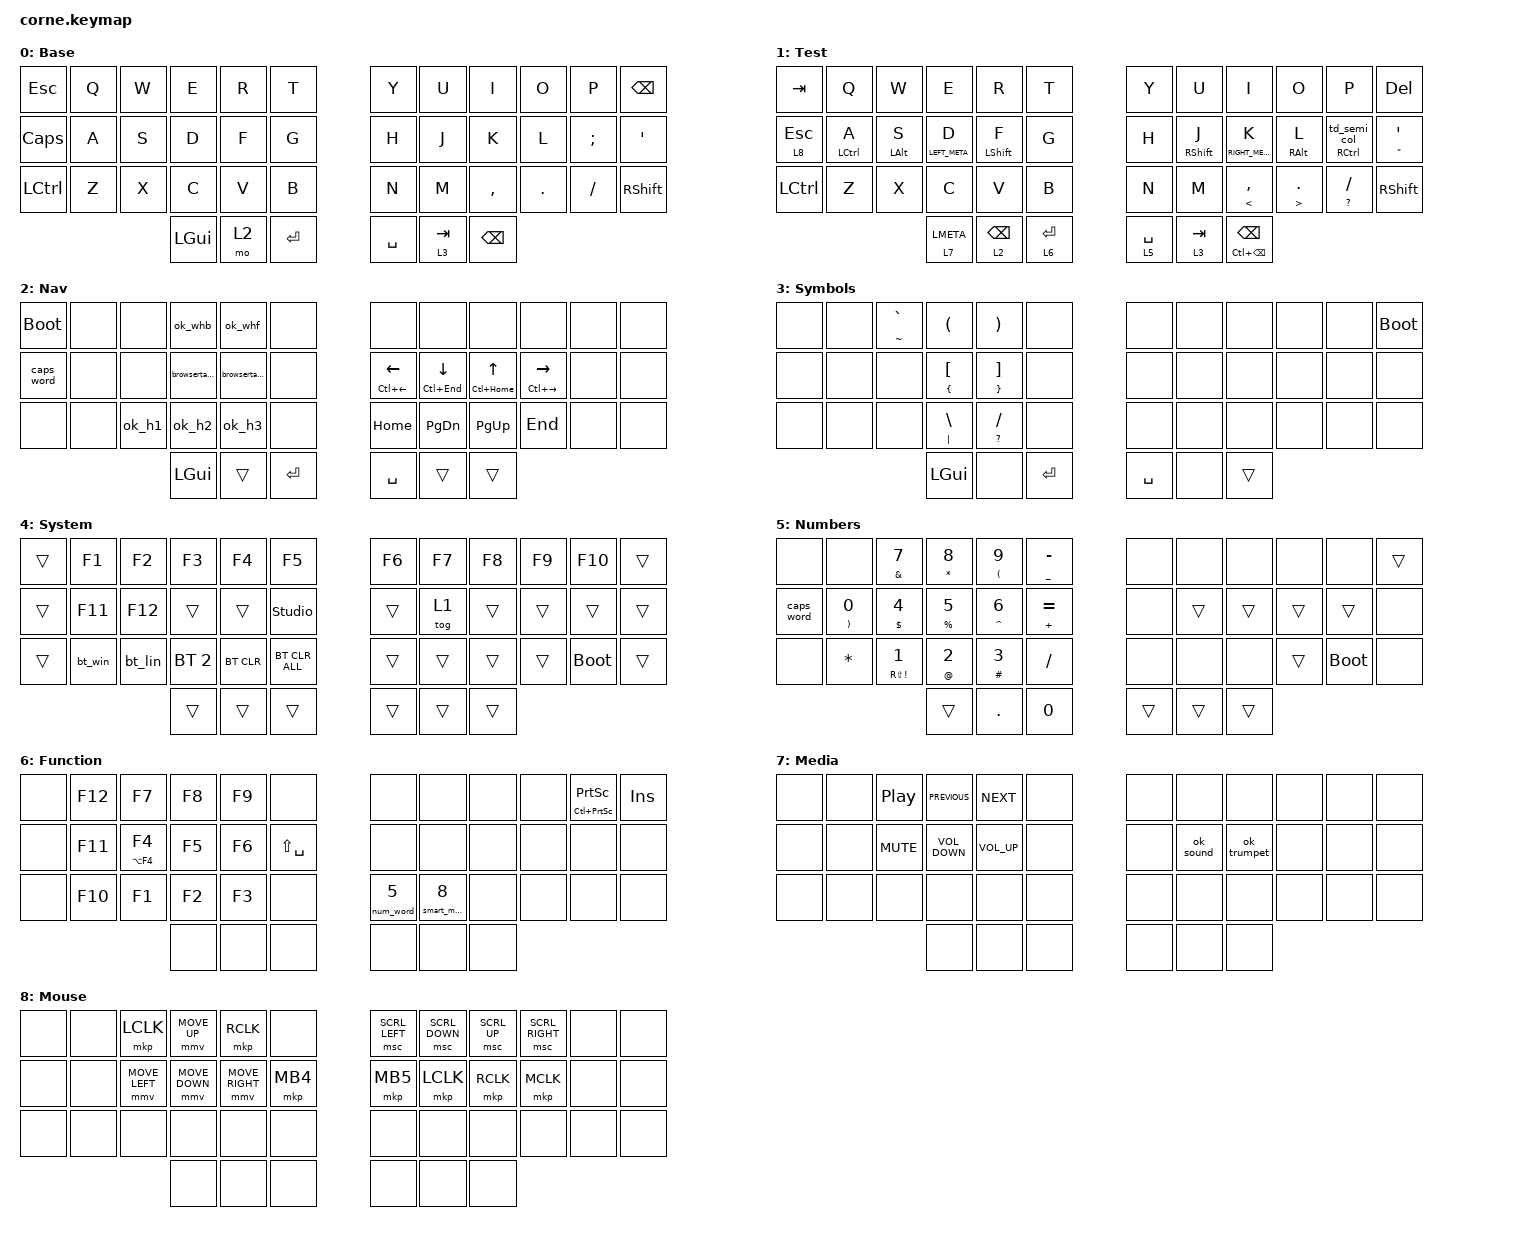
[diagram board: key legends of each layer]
#define ZMK_POINTING_DEFAULT_MOVE_VAL 2300 // default: 600
#define ZMK_POINTING_DEFAULT_SCRL_VAL 40    // default: 10

#include <behaviors/num_word.dtsi> // Requires zmk-auto-layer module.
#include <behaviors.dtsi>
#include <dt-bindings/zmk/bt.h>
#include <dt-bindings/zmk/keys.h>
#include <dt-bindings/zmk/pointing.h>
#include <dt-bindings/zmk/oskey.h>
#include <behaviors/oskey.dtsi>

// Extend the ZMK existing mouse move behaviour
&mmv {
    acceleration-exponent = <1>; // 1
    time-to-max-speed-ms = <500>; // 300
    trigger-period-ms = <8>;
};

// Extend the ZMK existing mouse scroll behaviour
&msc {
    acceleration-exponent = <1>;      // 0
    time-to-max-speed-ms = <40>;      // 300
    trigger-period-ms = <8>;
};

#define DEF 0
#define NAV 1
#define SYM 2
#define ADJ 3
#define EXTRA 4

&bootloader {
};

/ {
    behaviors {
        hm: homerow_mods {
            compatible = "zmk,behavior-hold-tap";
            label = "HOMEROW_MODS";
            #binding-cells = <2>;
            tapping-term-ms = <280>;
            quick_tap_ms = <0>;
            flavor = "tap-preferred";
            bindings = <&kp>, <&kp>;

            quick-tap-ms = <175>;
            global-quick-tap;
        };

        para: para {
            compatible = "zmk,behavior-tap-dance";
            label = "PARA";
            #binding-cells = <0>;
            bindings = <&kp LEFT_PARENTHESIS>, <&kp RIGHT_PARENTHESIS>;
        };

        caps: caps {
            compatible = "zmk,behavior-caps-word";
            label = "CAPS";
            #binding-cells = <0>;
            continue-list = <MINUS BACKSPACE>;
        };

        paraless: paraless {
            compatible = "zmk,behavior-mod-morph";
            label = "PARALESS";
            bindings = <&kp LEFT_PARENTHESIS>, <&kp LESS_THAN>;

            #binding-cells = <0>;
            mods = <(MOD_LSFT)>;
        };

        paragreat: paragreat {
            compatible = "zmk,behavior-mod-morph";
            label = "PARAGREAT";
            bindings = <&kp RIGHT_PARENTHESIS>, <&kp GREATER_THAN>;

            #binding-cells = <0>;
            mods = <(MOD_LSFT)>;
        };

        mt2: mod_tap_custom_2 {
            compatible = "zmk,behavior-hold-tap";
            label = "MT2";
            #binding-cells = <2>;
            tapping-term-ms = <280>;
            quick_tap_ms = <0>;
            flavor = "balanced";
            bindings = <&kp>, <&kp>;

            quick-tap-ms = <175>;
            global-quick-tap;
            hold-trigger-on-release;
        };

        smart_mouse: smart_mouse {
            compatible = "zmk,behavior-auto-layer";
            #binding-cells = <1>;
            continue-list = <LEFT DOWN UP RIGHT PG_DN PG_UP>;
            ignore-modifiers;
        };

        td_semi_col: td_semi_col {
            compatible = "zmk,behavior-tap-dance";
            #binding-cells = <0>;
            tapping-term-ms = <175>;
            bindings = <&kp SEMI>, <&kp COLON>;
        };

        mt_td_ctl: mt_td_ctrl {
            compatible = "zmk,behavior-hold-tap";
            #binding-cells = <2>;
            flavor = "tap-preferred";
            tapping-term-ms = <280>;
            quick-tap-ms = <175>;
            bindings = <&kp>, <&td_semi_col>;
            retro-tap;
        };

        ok_sound: ok_sound {
            compatible = "zmk,behavior-os-key";
            #binding-cells = <0>;
            bindings = <&kp LC(LA(F11))>, <&none>, <&kp LC(LG(NUMBER_1))>;
        };

        ok_trumpet: ok_trumpet {
            compatible = "zmk,behavior-os-key";
            #binding-cells = <0>;
            bindings = <&kp LC(F12)>, <&none>, <&none>;
        };

        ok_h1: ok_h1 {
            compatible = "zmk,behavior-os-key";
            #binding-cells = <0>;
            bindings = <&kp LA(NUMBER_1)>, <&none>, <&kp LA(NUMBER_1)>;
        };

        ok_h2: ok_h2 {
            compatible = "zmk,behavior-os-key";
            #binding-cells = <0>;
            bindings = <&kp LA(NUMBER_2)>, <&none>, <&kp LA(NUMBER_2)>;
        };

        ok_h3: ok_h3 {
            compatible = "zmk,behavior-os-key";
            #binding-cells = <0>;
            bindings = <&kp LA(NUMBER_3)>, <&none>, <&kp LA(NUMBER_3)>;
        };

        ok_whf: ok_whf {
            compatible = "zmk,behavior-os-key";
            #binding-cells = <0>;
            bindings = <&whf>, <&none>, <&none>;
        };

        ok_whb: ok_whb {
            compatible = "zmk,behavior-os-key";
            #binding-cells = <0>;
            bindings = <&whb>, <&none>, <&none>;
        };
    };

    macros {
        browsertabF: browsertab {
            compatible = "zmk,behavior-macro";
            #binding-cells = <0>;
            bindings =
                <&macro_press>,
                <&kp LCTRL>,
                <&macro_tap>,
                <&kp TAB>,
                <&macro_release>,
                <&kp LCTRL>;
        };

        browsertabB: browsertabB {
            compatible = "zmk,behavior-macro";
            #binding-cells = <0>;
            bindings =
                <&macro_press>,
                <&kp LCTRL>,
                <&macro_press>,
                <&kp LEFT_SHIFT>,
                <&macro_tap>,
                <&kp TAB>,
                <&macro_release>,
                <&kp LCTRL>,
                <&macro_release>,
                <&kp LEFT_SHIFT>;

            label = "BROWSERTABB";
        };

        whf: whf {
            compatible = "zmk,behavior-macro";
            #binding-cells = <0>;
            bindings =
                <&macro_press>,
                <&kp LALT>,
                <&macro_tap>,
                <&kp GRAVE>,
                <&macro_release>,
                <&kp LALT>;
            label = "WINDOWHOPF";
        };

        whb: whb {
            compatible = "zmk,behavior-macro";
            #binding-cells = <0>;
            bindings =
                <&macro_press>,
                <&kp LALT>,
                <&macro_press>,
                <&kp LSHIFT>,
                <&macro_tap>,
                <&kp GRAVE>,
                <&macro_release>,
                <&kp LALT>,
                <&macro_release>,
                <&kp LSHIFT>;
            label = "WINDOWHOPB";
        };

        bt_win: bt_win {
            compatible = "zmk,behavior-macro";
            #binding-cells = <0>;
            bindings = <&bt BT_SEL 0>, <&os_sel OS_WIN>;
        };

        bt_lin: bt_lin {
            compatible = "zmk,behavior-macro";
            #binding-cells = <0>;
            bindings = <&bt BT_SEL 1>, <&os_sel OS_LIN>;
        };
    };

    combos {
        compatible = "zmk,combos";

        escape {
            bindings = <&kp ESCAPE>;
            key-positions = <16 15>;
        };

        perc {
            bindings = <&kp PERCENT>;
            key-positions = <5 17>;
        };

        equal {
            bindings = <&kp EQUAL>;
            key-positions = <28 16>;
        };

        dollar {
            bindings = <&kp DOLLAR>;
            key-positions = <4 16>;
        };

        pound {
            bindings = <&kp POUND>;
            key-positions = <3 15>;
        };

        at {
            bindings = <&kp AT>;
            key-positions = <2 14>;
        };

        backslash {
            bindings = <&kp BACKSLASH>;
            key-positions = <26 14>;
        };

        copy {
            bindings = <&kp LC(C)>;
            key-positions = <27 26>;
        };

        paste {
            bindings = <&kp LC(V)>;
            key-positions = <27 28>;
        };

        star {
            bindings = <&kp STAR>;
            key-positions = <8 20>;
        };

        slash {
            bindings = <&kp SLASH>;
            key-positions = <32 20>;
        };

        plus {
            bindings = <&kp PLUS>;
            key-positions = <7 19>;
        };

        minus {
            bindings = <&kp KP_MINUS>;
            key-positions = <31 19>;
        };

        underscore {
            bindings = <&kp UNDER>;
            key-positions = <30 18>;
        };

        leftbrack {
            bindings = <&kp LEFT_BRACKET>;
            key-positions = <7 8>;
        };

        rightbrack {
            bindings = <&kp RIGHT_BRACKET>;
            key-positions = <8 9>;
        };

        para-less {
            bindings = <&paraless>;
            key-positions = <31 32>;
        };

        para-great {
            bindings = <&paragreat>;
            key-positions = <33 32>;
        };

        combo_enter {
            bindings = <&kp ENTER>;
            key-positions = <19 21>;
        };
    };

    //

    keymap {
        compatible = "zmk,keymap";

        DEF {
            display-name = "Base";

            // -----------------------------------------------------------------------------------------
            // |  Q  |  W  |  E  |  R  |  T  |   |  Y  |  U   |  I  |  O  |  P  |
            // |  A  |  S  |  D  |  F  |  G  |   |  H  |  J   |  K  |  L  |  ;  |
            // |  Z  |  X  |  C  |  V  |  B  |   |  N  |  M   |  ,  |  .  |  /  |
            // | GUI | CTRL | SHFT | LWR | SPC |   | ENT | RSE  | BKSP | ALT | ESC |

            bindings = <
//    ┌──────┬───┬───┬──────┬──────┬─────┐   ┌─────┬──────────┬──────┬───┬───┬──────┐
//    │ esc  │ Q │ W │  E   │  R   │  T  │   │  Y  │    U     │  I   │ O │ P │ bspc │
//    ├──────┼───┼───┼──────┼──────┼─────┤   ├─────┼──────────┼──────┼───┼───┼──────┤
//    │ caps │ A │ S │  D   │  F   │  G  │   │  H  │    J     │  K   │ L │ ; │  '   │
//    ├──────┼───┼───┼──────┼──────┼─────┤   ├─────┼──────────┼──────┼───┼───┼──────┤
//    │ lctl │ Z │ X │  C   │  V   │  B  │   │  N  │    M     │  ,   │ . │ / │ rsft │
//    └──────┴───┴───┼──────┼──────┼─────┤   ├─────┼──────────┼──────┼───┴───┴──────┘
//                   │ lgui │ mo 2 │ ent │   │ spc │ lt 3 tab │ bspc │
//                   └──────┴──────┴─────┘   └─────┴──────────┴──────┘
  &kp ESCAPE     &kp Q   &kp W   &kp E      &kp R   &kp T           &kp Y       &kp U       &kp I           &kp O     &kp P      &kp BACKSPACE
  &kp CAPSLOCK   &kp A   &kp S   &kp D      &kp F   &kp G           &kp H       &kp J       &kp K           &kp L     &kp SEMI   &kp SQT
  &kp LCTRL      &kp Z   &kp X   &kp C      &kp V   &kp B           &kp N       &kp M       &kp COMMA       &kp DOT   &kp FSLH   &kp RSHFT
                                 &kp LGUI   &mo 2   &kp ENTER       &kp SPACE   &lt 3 TAB   &kp BACKSPACE
            >;
        };

        Testing {
            display-name = "Test";
            bindings = <
//    ┌──────────┬────────────┬────────────┬────────────┬────────────┬──────────┐   ┌──────────┬────────────┬─────────────────────┬────────────┬──────────────────┬─────────┐
//    │   tab    │     Q      │     W      │     E      │     R      │    T     │   │    Y     │     U      │          I          │     O      │        P         │   del   │
//    ├──────────┼────────────┼────────────┼────────────┼────────────┼──────────┤   ├──────────┼────────────┼─────────────────────┼────────────┼──────────────────┼─────────┤
//    │ lt 8 esc │ mt2 lctl A │ mt2 lalt S │ mt2 lgui D │ mt2 lsft F │    G     │   │    H     │ mt2 rsft J │     mt2 rgui K      │ mt2 ralt L │ mt_td_ctl rctl 0 │ mt2 " ' │
//    ├──────────┼────────────┼────────────┼────────────┼────────────┼──────────┤   ├──────────┼────────────┼─────────────────────┼────────────┼──────────────────┼─────────┤
//    │   lctl   │     Z      │     X      │     C      │     V      │    B     │   │    N     │     M      │       mt2 < ,       │  mt2 > .   │     mt2 ? /      │  rsft   │
//    └──────────┴────────────┴────────────┼────────────┼────────────┼──────────┤   ├──────────┼────────────┼─────────────────────┼────────────┴──────────────────┴─────────┘
//                                         │ lt 7 lgui  │ lt 2 bspc  │ lt 6 ent │   │ lt 5 spc │  lt 3 tab  │ mt2 lctl(bspc) bspc │
//                                         └────────────┴────────────┴──────────┘   └──────────┴────────────┴─────────────────────┘
  &kp TAB        &kp Q          &kp W             &kp E              &kp R               &kp T             &kp Y         &kp U                &kp I                     &kp O                      &kp P                 &kp DELETE
  &lt 8 ESCAPE   &mt2 LCTRL A   &mt2 LEFT_ALT S   &mt2 LEFT_META D   &mt2 LEFT_SHIFT F   &kp G             &kp H         &mt2 RIGHT_SHIFT J   &mt2 RIGHT_META K         &mt2 RIGHT_ALT L           &mt_td_ctl RCTRL 0    &mt2 DOUBLE_QUOTES SQT
  &kp LCTRL      &kp Z          &kp X             &kp C              &kp V               &kp B             &kp N         &kp M                &mt2 LESS_THAN COMMA      &mt2 GREATER_THAN PERIOD   &mt2 QUESTION SLASH   &kp RSHFT
                                                  &lt 7 LMETA        &lt 2 BSPC          &lt 6 ENTER       &lt 5 SPACE   &lt 3 TAB            &mt2 LC(BACKSPACE) BSPC
            >;
        };

        NAV {
            display-name = "Nav";

            // -----------------------------------------------------------------------------------------
            // |  TAB |  1  |  2  |  3  |  4  |  5  |   |  6  |  7  |  8  |  9  |  0  | BKSP |
            // | BTCLR| BT1 | BT2 | BT3 | BT4 | BT5 |   | LFT | DWN |  UP | RGT |     |      |
            // | SHFT |     |     |     |     |     |   |     |     |     |     |     |      |
            // | GUI | CTRL | SHFT | LWR | SPC |   | ENT | RSE  | BKSP | ALT | ESC |

            bindings = <
//    ┌───────┬─────┬────────┬──────────────┬──────────────┬─────┐   ┌─────────────────────┬────────────────────┬───────────────────┬─────────────────────┬─────┬─────┐
//    │ boot  │     │        │   &ok_whb    │   &ok_whf    │     │   │                     │                    │                   │                     │     │     │
//    ├───────┼─────┼────────┼──────────────┼──────────────┼─────┤   ├─────────────────────┼────────────────────┼───────────────────┼─────────────────────┼─────┼─────┤
//    │ capsw │     │        │ &browsertabB │ &browsertabF │     │   │ mt2 lctl(left) left │ mt2 lctl(end) down │ mt2 lctl(home) up │ mt2 lctl(rght) rght │     │     │
//    ├───────┼─────┼────────┼──────────────┼──────────────┼─────┤   ├─────────────────────┼────────────────────┼───────────────────┼─────────────────────┼─────┼─────┤
//    │       │     │ &ok_h1 │    &ok_h2    │    &ok_h3    │     │   │        home         │        pgdn        │       pgup        │         end         │     │     │
//    └───────┴─────┴────────┼──────────────┼──────────────┼─────┤   ├─────────────────────┼────────────────────┼───────────────────┼─────────────────────┴─────┴─────┘
//                           │     lgui     │              │ ent │   │         spc         │                    │                   │
//                           └──────────────┴──────────────┴─────┘   └─────────────────────┴────────────────────┴───────────────────┘
  &bootloader   &none   &none    &ok_whb        &ok_whf        &none           &none                      &none                     &none                    &none                              &none   &none
  &caps_word    &none   &none    &browsertabB   &browsertabF   &none           &mt2 LC(LEFT_ARROW) LEFT   &mt2 LC(END) DOWN_ARROW   &mt2 LC(HOME) UP_ARROW   &mt2 LC(RIGHT_ARROW) RIGHT_ARROW   &none   &none
  &none         &none   &ok_h1   &ok_h2         &ok_h3         &none           &kp HOME                   &kp PAGE_DOWN             &kp PAGE_UP              &kp END                            &none   &none
                                 &kp LGUI       &trans         &kp ENTER       &kp SPACE                  &trans                    &trans
            >;
        };

        SYM {
            display-name = "Symbols";

            // -----------------------------------------------------------------------------------------
            // |  TAB |  !  |  @  |  #  |  $  |  %  |   |  ^  |  &  |  *  |  (  |  )  | BKSP |
            // | CTRL |     |     |     |     |     |   |  -  |  =  |  [  |  ]  |  \  |  `   |
            // | SHFT |     |     |     |     |     |   |  _  |  +  |  {  |  }  | "|" |  ~   |
            //                    | GUI |     | SPC |   | ENT |     | ALT |

            bindings = <
//    ┌─────┬─────┬─────────┬─────────┬─────────┬─────┐   ┌─────┬─────┬─────┬─────┬─────┬──────┐
//    │     │     │ mt2 ~ ` │    (    │    )    │     │   │     │     │     │     │     │ boot │
//    ├─────┼─────┼─────────┼─────────┼─────────┼─────┤   ├─────┼─────┼─────┼─────┼─────┼──────┤
//    │     │     │         │ mt2 { [ │ mt2 } ] │     │   │     │     │     │     │     │      │
//    ├─────┼─────┼─────────┼─────────┼─────────┼─────┤   ├─────┼─────┼─────┼─────┼─────┼──────┤
//    │     │     │         │ mt2 | \ │ mt2 ? / │     │   │     │     │     │     │     │      │
//    └─────┴─────┴─────────┼─────────┼─────────┼─────┤   ├─────┼─────┼─────┼─────┴─────┴──────┘
//                          │  lgui   │         │ ent │   │ spc │     │     │
//                          └─────────┴─────────┴─────┘   └─────┴─────┴─────┘
  &none   &none   &mt2 TILDE GRAVE   &kp LEFT_PARENTHESIS           &kp RIGHT_PARENTHESIS            &none         &none       &none   &none    &none   &none   &bootloader
  &none   &none   &none              &mt2 LEFT_BRACE LEFT_BRACKET   &mt2 RIGHT_BRACE RIGHT_BRACKET   &none         &none       &none   &none    &none   &none   &none
  &none   &none   &none              &mt2 PIPE BACKSLASH            &mt2 QUESTION SLASH              &none         &none       &none   &none    &none   &none   &none
                                     &kp LGUI                       &none                            &kp RET       &kp SPACE   &none   &trans
            >;
        };

        ADJ {
            display-name = "System";
            bindings = <
//    ┌─────┬─────────┬─────────┬──────────┬────────┬────────────────┐   ┌─────┬───────┬─────┬─────┬──────┬─────┐
//    │     │   f1    │   f2    │    f3    │   f4   │       f5       │   │ f6  │  f7   │ f8  │ f9  │ f10  │     │
//    ├─────┼─────────┼─────────┼──────────┼────────┼────────────────┤   ├─────┼───────┼─────┼─────┼──────┼─────┤
//    │     │   f11   │   f12   │          │        │ &studio_unlock │   │     │ tog 1 │     │     │      │     │
//    ├─────┼─────────┼─────────┼──────────┼────────┼────────────────┤   ├─────┼───────┼─────┼─────┼──────┼─────┤
//    │     │ &bt_win │ &bt_lin │ bt_sel 2 │ bt_clr │   bt_clr_ALL   │   │     │       │     │     │ boot │     │
//    └─────┴─────────┴─────────┼──────────┼────────┼────────────────┤   ├─────┼───────┼─────┼─────┴──────┴─────┘
//                              │          │        │                │   │     │       │     │
//                              └──────────┴────────┴────────────────┘   └─────┴───────┴─────┘
  &trans   &kp F1    &kp F2    &kp F3         &kp F4       &kp F5               &kp F6   &kp F7   &kp F8   &kp F9   &kp F10       &trans
  &trans   &kp F11   &kp F12   &trans         &trans       &studio_unlock       &trans   &tog 1   &trans   &trans   &trans        &trans
  &trans   &bt_win   &bt_lin   &bt BT_SEL 2   &bt BT_CLR   &bt BT_CLR_ALL       &trans   &trans   &trans   &trans   &bootloader   &trans
                               &trans         &trans       &trans               &trans   &trans   &trans
            >;
        };

        NUM {
            display-name = "Numbers";
            bindings = <
//    ┌───────┬─────────┬───────────────┬─────────┬─────────┬─────────┐   ┌─────┬─────┬─────┬─────┬──────┬─────┐
//    │       │         │    mt2 & 7    │ mt2 * 8 │ mt2 ( 9 │ mt2 _ - │   │     │     │     │     │      │     │
//    ├───────┼─────────┼───────────────┼─────────┼─────────┼─────────┤   ├─────┼─────┼─────┼─────┼──────┼─────┤
//    │ capsw │ mt2 ) 0 │    mt2 $ 4    │ mt2 % 5 │ mt2 ^ 6 │ mt2 + = │   │     │     │     │     │      │     │
//    ├───────┼─────────┼───────────────┼─────────┼─────────┼─────────┤   ├─────┼─────┼─────┼─────┼──────┼─────┤
//    │       │    *    │ mt2 rsft(!) 1 │ mt2 @ 2 │ mt2 # 3 │    /    │   │     │     │     │     │ boot │     │
//    └───────┴─────────┴───────────────┼─────────┼─────────┼─────────┤   ├─────┼─────┼─────┼─────┴──────┴─────┘
//                                      │         │    .    │    0    │   │     │     │     │
//                                      └─────────┴─────────┴─────────┘   └─────┴─────┴─────┘
  &none        &none                       &mt2 AMPERSAND N7               &mt2 ASTERISK N8        &mt2 LEFT_PARENTHESIS N9   &mt2 UNDERSCORE MINUS       &none    &none    &none    &none    &none         &trans
  &caps_word   &mt2 RIGHT_PARENTHESIS N0   &mt2 DOLLAR NUMBER_4            &mt2 PERCENT N5         &mt2 CARET NUMBER_6        &mt2 PLUS EQUAL             &none    &trans   &trans   &trans   &trans        &none
  &none        &kp STAR                    &mt2 RS(EXCLAMATION) NUMBER_1   &mt2 AT_SIGN NUMBER_2   &mt2 HASH NUMBER_3         &kp FSLH                    &none    &none    &none    &trans   &bootloader   &none
                                                                           &trans                  &kp DOT                    &kp NUMBER_0                &trans   &trans   &trans
            >;
        };

        FUN {
            bindings = <
//    ┌─────┬─────┬─────────────────┬─────┬─────┬───────────┐   ┌─────────────┬────────────────┬─────┬─────┬─────────────────────┬─────┐
//    │     │ f12 │       f7        │ f8  │ f9  │           │   │             │                │     │     │ mt2 lctl(pscr) pscr │ ins │
//    ├─────┼─────┼─────────────────┼─────┼─────┼───────────┤   ├─────────────┼────────────────┼─────┼─────┼─────────────────────┼─────┤
//    │     │ f11 │ mt2 lalt(f4) f4 │ f5  │ f6  │ lsft(spc) │   │             │                │     │     │                     │     │
//    ├─────┼─────┼─────────────────┼─────┼─────┼───────────┤   ├─────────────┼────────────────┼─────┼─────┼─────────────────────┼─────┤
//    │     │ f10 │       f1        │ f2  │ f3  │           │   │ &num_word 5 │ &smart_mouse 8 │     │     │                     │     │
//    └─────┴─────┴─────────────────┼─────┼─────┼───────────┤   ├─────────────┼────────────────┼─────┼─────┴─────────────────────┴─────┘
//                                  │     │     │           │   │             │                │     │
//                                  └─────┴─────┴───────────┘   └─────────────┴────────────────┴─────┘
  &none   &kp F12   &kp F7           &kp F8   &kp F9   &none               &none         &none            &none   &none   &mt2 LC(PRINTSCREEN) PRINTSCREEN   &kp INSERT
  &none   &kp F11   &mt2 LA(F4) F4   &kp F5   &kp F6   &kp LS(SPACE)       &none         &none            &none   &none   &none                              &none
  &none   &kp F10   &kp F1           &kp F2   &kp F3   &none               &num_word 5   &smart_mouse 8   &none   &none   &none                              &none
                                     &none    &none    &none               &none         &none            &none
            >;

            label = "Function";
        };

        MED {
            bindings = <
//    ┌─────┬─────┬──────┬──────┬──────┬─────┐   ┌─────┬───────────┬─────────────┬─────┬─────┬─────┐
//    │     │     │ play │ prev │ next │     │   │     │           │             │     │     │     │
//    ├─────┼─────┼──────┼──────┼──────┼─────┤   ├─────┼───────────┼─────────────┼─────┼─────┼─────┤
//    │     │     │ mute │ vold │ volu │     │   │     │ &ok_sound │ &ok_trumpet │     │     │     │
//    ├─────┼─────┼──────┼──────┼──────┼─────┤   ├─────┼───────────┼─────────────┼─────┼─────┼─────┤
//    │     │     │      │      │      │     │   │     │           │             │     │     │     │
//    └─────┴─────┴──────┼──────┼──────┼─────┤   ├─────┼───────────┼─────────────┼─────┴─────┴─────┘
//                       │      │      │     │   │     │           │             │
//                       └──────┴──────┴─────┘   └─────┴───────────┴─────────────┘
  &none   &none   &kp C_PLAY_PAUSE   &kp C_PREVIOUS      &kp C_NEXT        &none       &none   &none       &none         &none   &none   &none
  &none   &none   &kp C_MUTE         &kp C_VOLUME_DOWN   &kp C_VOLUME_UP   &none       &none   &ok_sound   &ok_trumpet   &none   &none   &none
  &none   &none   &none              &none               &none             &none       &none   &none       &none         &none   &none   &none
                                     &none               &none             &none       &none   &none       &none
            >;

            label = "Media";
        };

        MSE {
            bindings = <
//    ┌─────┬─────┬────────────────┬────────────────┬────────────────┬──────┐   ┌────────────────┬────────────────┬──────────────┬────────────────┬─────┬─────┐
//    │     │     │      lclk      │  &mmv MOVE_up  │      rclk      │      │   │ &msc SCRL_left │ &msc SCRL_down │ &msc SCRL_up │ &msc SCRL_rght │     │     │
//    ├─────┼─────┼────────────────┼────────────────┼────────────────┼──────┤   ├────────────────┼────────────────┼──────────────┼────────────────┼─────┼─────┤
//    │     │     │ &mmv MOVE_left │ &mmv MOVE_down │ &mmv MOVE_rght │ mbck │   │      mfwd      │      lclk      │     rclk     │      mclk      │     │     │
//    ├─────┼─────┼────────────────┼────────────────┼────────────────┼──────┤   ├────────────────┼────────────────┼──────────────┼────────────────┼─────┼─────┤
//    │     │     │                │                │                │      │   │                │                │              │                │     │     │
//    └─────┴─────┴────────────────┼────────────────┼────────────────┼──────┤   ├────────────────┼────────────────┼──────────────┼────────────────┴─────┴─────┘
//                                 │                │                │      │   │                │                │              │
//                                 └────────────────┴────────────────┴──────┘   └────────────────┴────────────────┴──────────────┘
  &none   &none   &mkp LCLK        &mmv MOVE_UP     &mkp RCLK         &none          &msc SCRL_LEFT   &msc SCRL_DOWN   &msc SCRL_UP   &msc SCRL_RIGHT   &none   &none
  &none   &none   &mmv MOVE_LEFT   &mmv MOVE_DOWN   &mmv MOVE_RIGHT   &mkp MB4       &mkp MB5         &mkp LCLK        &mkp RCLK      &mkp MCLK         &none   &none
  &none   &none   &none            &none            &none             &none          &none            &none            &none          &none             &none   &none
                                   &none            &none             &none          &none            &none            &none
            >;

            label = "Mouse";
        };
    };

    conditional_layers {
        compatible = "zmk,conditional-layers";

        l4 {
            if-layers = <2 3>;
            then-layer = <4>;
        };
    };
};
